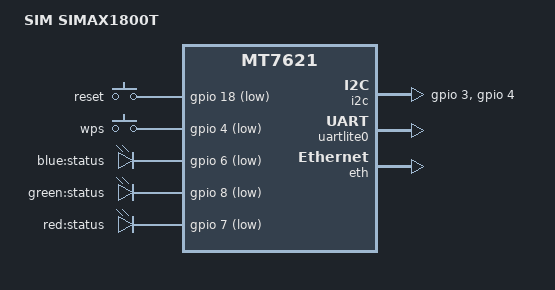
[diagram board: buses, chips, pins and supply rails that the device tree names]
// SPDX-License-Identifier: GPL-2.0+

/dts-v1/;
#include "mt7621.dtsi"

#include <dt-bindings/gpio/gpio.h>
#include <dt-bindings/input/input.h>

/ {
	model = "SIM SIMAX1800T";
	compatible = "sim,simax1800t", "mediatek,mt7621-soc";

	chosen {
		stdout-path = &uartlite0;
	};

	config {
		reset-button = "reset";
		wps-button = "wps";
		status1-led = "green:status";
		status2-led = "red:status";
	};

	keys {
		compatible = "gpio-keys";

		reset {
			label = "reset";
			gpios = <&gpio 18 GPIO_ACTIVE_LOW>;
			linux,code = <KEY_RESTART>;
		};

		wps {
			label = "wps";
			gpios = <&gpio 4 GPIO_ACTIVE_LOW>;
			linux,code = <KEY_WPS_BUTTON>;
		};
	};

	leds {
		compatible = "gpio-leds";

		led-blue {
			label = "blue:status";
			gpios = <&gpio 6 GPIO_ACTIVE_LOW>;
			default-state = "off";
		};

		led-green {
			label = "green:status";
			gpios = <&gpio 8 GPIO_ACTIVE_LOW>;
			default-state = "on";
		};

		led-red {
			label = "red:status";
			gpios = <&gpio 7 GPIO_ACTIVE_LOW>;
			default-state = "off";
		};
	};
};

&pinctrl {
	state_default: pinmux_conf {
		spi {
			groups = "spi";
			function = "nand1";
		};

		sdhci {
			groups = "sdhci";
			function = "nand2";
		};

		jtag {
			groups = "jtag";
			function = "gpio";
		};

		wdt {
			groups = "wdt";
			function = "gpio";
		};
	};
};

&gpio {
	status = "okay";
};

&i2c {
	gpios = <&gpio 3 1>, /* PIN3 as SDA */
		<&gpio 4 1>; /* PIN4 as CLK */
};

&uartlite0 {
	status = "okay";
};

&eth {
	status = "okay";
};
